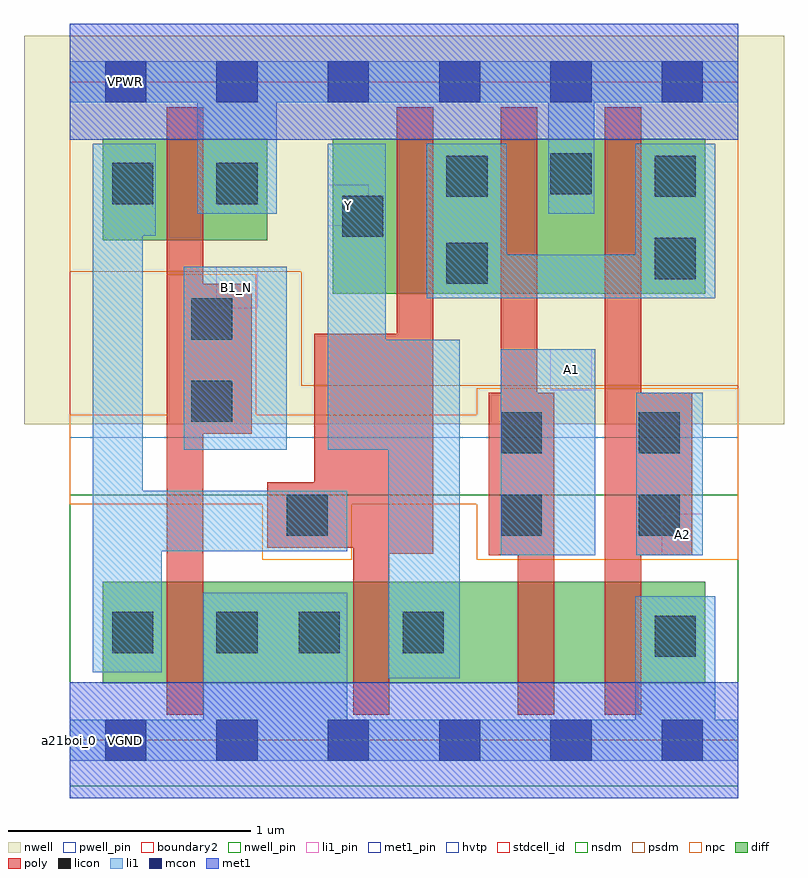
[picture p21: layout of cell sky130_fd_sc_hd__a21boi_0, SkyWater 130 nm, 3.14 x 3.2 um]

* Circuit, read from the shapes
.subckt sky130_fd_sc_hd__a21boi_0 A1 A2 B1_N VGND VNB VPB VPWR Y
XM1 VGND B1_N n1 VNB sky130_fd_pr__nfet_01v8 w=0.42 l=0.15
XM2 Y n1 VGND VNB sky130_fd_pr__nfet_01v8 w=0.42 l=0.15
XM3 n2 A1 Y VNB sky130_fd_pr__nfet_01v8 w=0.42 l=0.15
XM4 VGND A2 n2 VNB sky130_fd_pr__nfet_01v8 w=0.42 l=0.15
XM5 VPWR B1_N n1 VPB sky130_fd_pr__pfet_01v8_hvt w=0.42 l=0.15
XM6 n3 n1 Y VPB sky130_fd_pr__pfet_01v8_hvt w=0.64 l=0.15
XM7 VPWR A1 n3 VPB sky130_fd_pr__pfet_01v8_hvt w=0.64 l=0.15
XM8 n3 A2 VPWR VPB sky130_fd_pr__pfet_01v8_hvt w=0.64 l=0.15
.ends

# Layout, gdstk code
import gdstk
lib = gdstk.Library(unit=1e-6, precision=1e-09)
def R(c, l, rs):  # rectangles x0, y0, x1, y1
    for r in rs: c.add(gdstk.rectangle(r[:2], r[2:], *l))
def A(c, l, x, y, w, h, nx, ny, dx, dy):  # array of equal rectangles
    R(c, l, [(x+i*dx, y+j*dy, x+i*dx+w, y+j*dy+h) for i in range(nx) for j in range(ny)])
def P(c, l, *ps):  # polygons
    for p in ps: c.add(gdstk.Polygon(p, *l))
nwell_pin = (64, 16)
nwell = (64, 20)
diff = (65, 20)
poly = (66, 20)
licon = (66, 44)
li1_pin = (67, 16)
li1 = (67, 20)
mcon = (67, 44)
met1_pin = (68, 16)
met1 = (68, 20)
hvtp = (78, 44)
stdcell_id = (81, 4)
nsdm = (93, 44)
psdm = (94, 20)
npc = (95, 20)
pwell_pin = (122, 16)
boundary2 = (236, 0)

sky130_fd_sc_hd__a21boi_ = lib.new_cell('sky130_fd_sc_hd__a21boi_0')
R(sky130_fd_sc_hd__a21boi_, nwell_pin, [(0.145,2.635,0.315,2.805)])
R(sky130_fd_sc_hd__a21boi_, nwell, [(-0.19,1.305,2.95,2.91)])
R(sky130_fd_sc_hd__a21boi_, diff, [(0.135,0.235,2.625,0.655), (1.085,1.845,2.625,2.485), (0.135,2.065,0.815,2.485)])
P(sky130_fd_sc_hd__a21boi_, poly, [(2.57,1.435),(2.36,1.435),(2.36,2.615),(2.21,2.615),(2.21,0.105),(2.36,0.105),(2.36,0.765),(2.57,0.765)],
  [(2,1.435),(1.93,1.435),(1.93,2.615),(1.78,2.615),(1.78,1.435),(1.73,1.435),(1.73,0.765),(1.85,0.765),(1.85,0.105),(2,0.105)],
  [(1.5,2.615),(1.35,2.615),(1.35,1.68),(1.01,1.68),(1.01,1.065),(0.815,1.065),(0.815,0.795),(1.17,0.795),(1.17,0.105),(1.32,0.105),(1.32,0.77),(1.5,0.77)],
  [(0.75,1.885),(0.55,1.885),(0.55,2.615),(0.4,2.615),(0.4,0.105),(0.55,0.105),(0.55,1.265),(0.75,1.265)])
R(sky130_fd_sc_hd__a21boi_, licon, [(2.415,0.345,2.585,0.515), (0.175,0.36,0.345,0.53), (0.605,0.36,0.775,0.53), (0.945,0.36,1.115,0.53), (1.375,0.36,1.545,0.53), (0.895,0.845,1.065,1.015), (1.78,0.845,1.95,1.015), (2.35,0.845,2.52,1.015), (1.78,1.185,1.95,1.355), (2.35,1.185,2.52,1.355), (0.5,1.315,0.67,1.485), (0.5,1.655,0.67,1.825), (1.555,1.885,1.725,2.055), (2.415,1.905,2.585,2.075), (1.125,2.08,1.295,2.25), (0.175,2.215,0.345,2.385), (0.605,2.215,0.775,2.385), (1.555,2.245,1.725,2.415), (2.415,2.245,2.585,2.415), (1.985,2.255,2.155,2.425)])
R(sky130_fd_sc_hd__a21boi_, li1_pin, [(2.445,0.765,2.615,0.935), (1.985,1.445,2.155,1.615), (0.605,1.785,0.775,1.955), (1.065,2.125,1.235,2.295)])
R(sky130_fd_sc_hd__a21boi_, li1, [(1.78,0.765,2.17,1.615), (2.34,0.765,2.615,1.435), (0.47,1.2,0.895,1.955)])
P(sky130_fd_sc_hd__a21boi_, li1, [(2.665,2.465),(2.335,2.465),(2.335,2.005),(1.805,2.005),(1.805,2.465),(1.475,2.465),(1.475,1.825),(2.665,1.825)],
  [(2.76,2.805),(0,2.805),(0,2.635),(0.525,2.635),(0.525,2.175),(0.855,2.175),(0.855,2.635),(1.975,2.635),(1.975,2.175),(2.165,2.175),(2.165,2.635),(2.76,2.635)],
  [(2.76,0.085),(2.665,0.085),(2.665,0.595),(2.335,0.595),(2.335,0.085),(1.145,0.085),(1.145,0.61),(0.55,0.61),(0.55,0.085),(0,0.085),(0,-0.085),(2.76,-0.085)],
  [(1.61,1.655),(1.305,1.655),(1.305,2.465),(1.065,2.465),(1.065,1.2),(1.315,1.2),(1.315,0.255),(1.61,0.255)],
  [(1.145,1.03),(0.3,1.03),(0.3,2.085),(0.355,2.085),(0.355,2.465),(0.095,2.465),(0.095,0.28),(0.38,0.28),(0.38,0.78),(1.145,0.78)])
A(sky130_fd_sc_hd__a21boi_, mcon, 0.145, -0.085, 0.17, 0.17, 6, 2, 0.46, 2.72)
R(sky130_fd_sc_hd__a21boi_, met1_pin, [(0.145,-0.085,0.315,0.085), (0.145,2.635,0.315,2.805)])
R(sky130_fd_sc_hd__a21boi_, hvtp, [(0,1.25,2.76,2.72)])
R(sky130_fd_sc_hd__a21boi_, stdcell_id, [(0,0,2.76,2.72)])
R(sky130_fd_sc_hd__a21boi_, nsdm, [(0,-0.19,2.76,1.015)])
P(sky130_fd_sc_hd__a21boi_, psdm, [(2.76,2.91),(0,2.91),(0,1.935),(0.955,1.935),(0.955,1.465),(2.76,1.465)])
P(sky130_fd_sc_hd__a21boi_, npc, [(2.76,1.455),(1.68,1.455),(1.68,1.345),(0.77,1.345),(0.77,1.925),(0.4,1.925),(0.4,1.345),(0,1.345),(0,0.975),(0.795,0.975),(0.795,0.745),(1.165,0.745),(1.165,0.975),(1.68,0.975),(1.68,0.745),(2.76,0.745)])
R(sky130_fd_sc_hd__a21boi_, pwell_pin, [(0.145,-0.085,0.315,0.085)])
R(sky130_fd_sc_hd__a21boi_, boundary2, [(0,0,2.76,2.72)])
sky130_fd_sc_hd__a21boi_.add(gdstk.FlexPath([(0,2.72),(2.76,2.72)], 0.48, ends="flush", simple_path=True, layer=68, datatype=20))  # met1
sky130_fd_sc_hd__a21boi_.add(gdstk.FlexPath([(0,0),(2.76,0)], 0.48, ends="flush", simple_path=True, layer=68, datatype=20))  # met1
sky130_fd_sc_hd__a21boi_.add(gdstk.Label('a21boi_0', (0,0), layer=83, texttype=44))
sky130_fd_sc_hd__a21boi_.add(gdstk.Label('VGND', (0.23,0), layer=68, texttype=5))
sky130_fd_sc_hd__a21boi_.add(gdstk.Label('VPWR', (0.23,2.72), layer=68, texttype=5))
sky130_fd_sc_hd__a21boi_.add(gdstk.Label('VPB', (0.23,2.72), layer=64, texttype=5))
sky130_fd_sc_hd__a21boi_.add(gdstk.Label('VNB', (0.23,0), layer=64, texttype=59))
sky130_fd_sc_hd__a21boi_.add(gdstk.Label('A2', (2.53,0.85), layer=67, texttype=5))
sky130_fd_sc_hd__a21boi_.add(gdstk.Label('A1', (2.07,1.53), layer=67, texttype=5))
sky130_fd_sc_hd__a21boi_.add(gdstk.Label('Y', (1.15,2.21), layer=67, texttype=5))
sky130_fd_sc_hd__a21boi_.add(gdstk.Label('B1_N', (0.69,1.87), layer=67, texttype=5))

lib.write_gds('sky130_fd_sc_hd__a21boi_0.gds')
